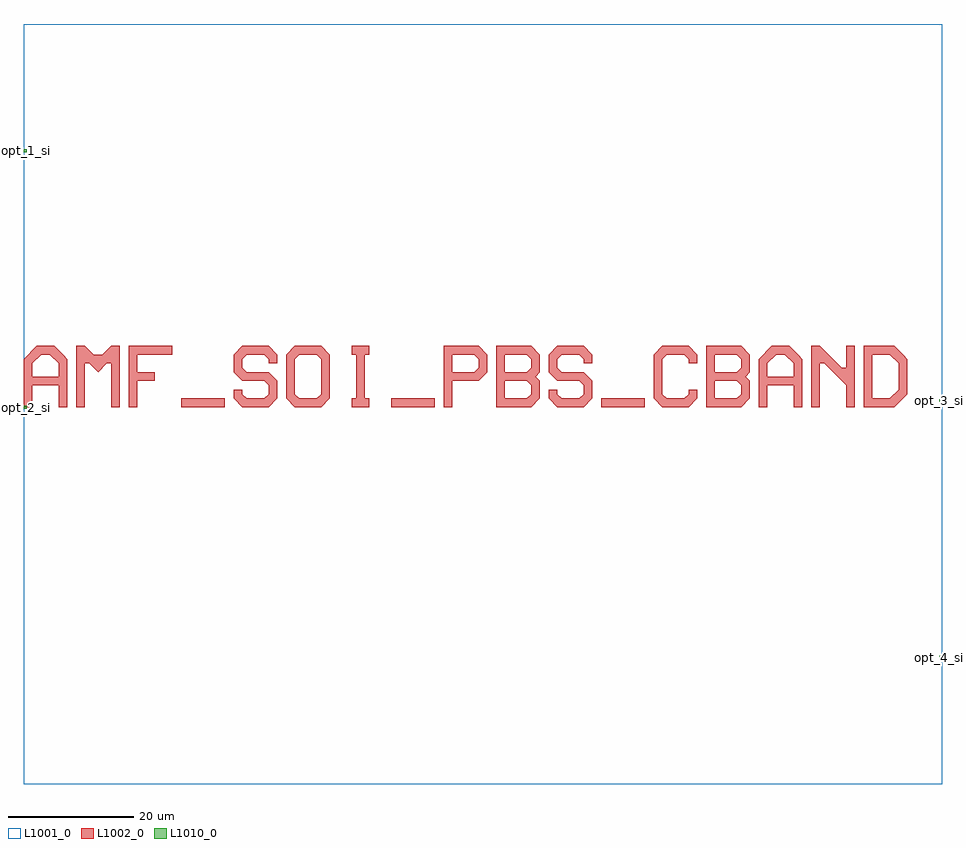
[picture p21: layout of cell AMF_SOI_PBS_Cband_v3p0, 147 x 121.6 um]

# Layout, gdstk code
import gdstk
lib = gdstk.Library(unit=1e-6, precision=1e-09)
def R(c, l, rs):  # rectangles x0, y0, x1, y1
    for r in rs: c.add(gdstk.rectangle(r[:2], r[2:], *l))
def A(c, l, x, y, w, h, nx, ny, dx, dy):  # array of equal rectangles
    R(c, l, [(x+i*dx, y+j*dy, x+i*dx+w, y+j*dy+h) for i in range(nx) for j in range(ny)])
def P(c, l, *ps):  # polygons
    for p in ps: c.add(gdstk.Polygon(p, *l))
L1001_0 = (1001, 0)
L1002_0 = (1002, 0)
L1010_0 = (1010, 0)

amf_soi_pbs_cband_v3p0 = lib.new_cell('AMF_SOI_PBS_Cband_v3p0')
R(amf_soi_pbs_cband_v3p0, L1001_0, [(0,-60.3,147,61.3)])
A(amf_soi_pbs_cband_v3p0, L1002_0, 25.202, -0.004, 7, 1.4, 3, 1, 33.6, 0)
P(amf_soi_pbs_cband_v3p0, L1002_0, [(0.002,-0.004),(0.002,7.696),(2.102,9.796),(4.902,9.796),(6.302,8.396),(2.802,8.396),(1.402,6.996),(1.402,4.896),(5.602,4.896),(5.602,6.996),(4.202,8.396),(6.302,8.396),(7.002,7.696),(7.002,-0.004),(5.602,-0.004),(5.602,3.496),(1.402,3.496),(1.402,-0.004)],
  [(8.402,-0.004),(8.402,9.796),(9.802,9.796),(11.202,8.396),(12.602,8.396),(14.002,9.796),(15.402,9.796),(15.402,-0.004),(14.002,-0.004),(14.002,6.996),(13.302,6.996),(11.902,5.596),(10.502,6.996),(9.802,6.996),(9.802,-0.004)],
  [(16.802,-0.004),(16.802,9.796),(23.802,9.796),(23.802,8.396),(18.202,8.396),(18.202,5.596),(21.002,5.596),(21.002,4.196),(18.202,4.196),(18.202,-0.004)],
  [(35.002,-0.004),(33.602,1.396),(33.602,2.796),(35.002,2.796),(35.002,2.096),(35.702,1.396),(38.502,1.396),(39.202,2.096),(39.202,3.496),(38.502,4.196),(35.002,4.196),(33.602,5.596),(33.602,8.396),(35.002,9.796),(39.202,9.796),(40.602,8.396),(40.602,6.996),(39.202,6.996),(39.202,7.696),(38.502,8.396),(35.702,8.396),(35.002,7.696),(35.002,6.296),(35.702,5.596),(39.202,5.596),(40.602,4.196),(40.602,1.396),(39.202,-0.004)],
  [(43.402,-0.004),(42.002,1.396),(42.002,8.396),(43.402,9.796),(47.602,9.796),(49.002,8.396),(49.002,4.896),(47.602,4.896),(47.602,7.696),(46.902,8.396),(44.102,8.396),(43.402,7.696),(43.402,2.096),(44.102,1.396),(46.902,1.396),(47.602,2.096),(47.602,4.896),(49.002,4.896),(49.002,1.396),(47.602,-0.004)],
  [(52.502,-0.004),(52.502,1.396),(53.202,1.396),(53.202,8.396),(52.502,8.396),(52.502,9.796),(55.302,9.796),(55.302,8.396),(54.602,8.396),(54.602,1.396),(55.302,1.396),(55.302,-0.004)],
  [(67.202,-0.004),(67.202,9.796),(72.802,9.796),(74.202,8.396),(74.202,5.596),(72.802,4.196),(68.602,4.196),(68.602,5.596),(72.102,5.596),(72.802,6.296),(72.802,7.696),(72.102,8.396),(68.602,8.396),(68.602,-0.004)],
  [(75.602,-0.004),(75.602,9.796),(81.202,9.796),(82.602,8.396),(77.002,8.396),(77.002,5.596),(80.502,5.596),(81.202,6.296),(81.202,7.696),(80.502,8.396),(82.602,8.396),(82.602,5.596),(81.902,4.896),(82.602,4.196),(77.002,4.196),(77.002,1.396),(80.502,1.396),(81.202,2.096),(81.202,3.496),(80.502,4.196),(82.602,4.196),(82.602,1.396),(81.202,-0.004)],
  [(85.402,-0.004),(84.002,1.396),(84.002,2.796),(85.402,2.796),(85.402,2.096),(86.102,1.396),(88.902,1.396),(89.602,2.096),(89.602,3.496),(88.902,4.196),(85.402,4.196),(84.002,5.596),(84.002,8.396),(85.402,9.796),(89.602,9.796),(91.002,8.396),(91.002,6.996),(89.602,6.996),(89.602,7.696),(88.902,8.396),(86.102,8.396),(85.402,7.696),(85.402,6.296),(86.102,5.596),(89.602,5.596),(91.002,4.196),(91.002,1.396),(89.602,-0.004)],
  [(102.202,-0.004),(100.802,1.396),(100.802,8.396),(102.202,9.796),(106.402,9.796),(107.802,8.396),(107.802,6.996),(106.402,6.996),(106.402,7.696),(105.702,8.396),(102.902,8.396),(102.202,7.696),(102.202,2.096),(102.902,1.396),(105.702,1.396),(106.402,2.096),(106.402,2.796),(107.802,2.796),(107.802,1.396),(106.402,-0.004)],
  [(109.202,-0.004),(109.202,9.796),(114.802,9.796),(116.202,8.396),(110.602,8.396),(110.602,5.596),(114.102,5.596),(114.802,6.296),(114.802,7.696),(114.102,8.396),(116.202,8.396),(116.202,5.596),(115.502,4.896),(116.202,4.196),(110.602,4.196),(110.602,1.396),(114.102,1.396),(114.802,2.096),(114.802,3.496),(114.102,4.196),(116.202,4.196),(116.202,1.396),(114.802,-0.004)],
  [(117.602,-0.004),(117.602,7.696),(119.702,9.796),(122.502,9.796),(123.902,8.396),(120.402,8.396),(119.002,6.996),(119.002,4.896),(123.202,4.896),(123.202,6.996),(121.802,8.396),(123.902,8.396),(124.602,7.696),(124.602,-0.004),(123.202,-0.004),(123.202,3.496),(119.002,3.496),(119.002,-0.004)],
  [(126.002,-0.004),(126.002,9.796),(127.402,9.796),(130.902,6.296),(131.602,6.296),(131.602,9.796),(133.002,9.796),(133.002,-0.004),(131.602,-0.004),(131.602,3.496),(128.102,6.996),(127.402,6.996),(127.402,-0.004)],
  [(134.402,-0.004),(134.402,9.796),(139.302,9.796),(140.702,8.396),(135.802,8.396),(135.802,1.396),(138.602,1.396),(140.002,2.796),(140.002,6.996),(138.602,8.396),(140.702,8.396),(141.402,7.696),(141.402,2.096),(139.302,-0.004)])
R(amf_soi_pbs_cband_v3p0, L1010_0, [(146.5,-40.25,147,-39.75), (0,-0.25,0.5,0.25), (146.5,0.75,147,1.25), (0,40.75,0.5,41.25)])
amf_soi_pbs_cband_v3p0.add(gdstk.Label('opt_1_si', (0,41), layer=1010, texttype=0))
amf_soi_pbs_cband_v3p0.add(gdstk.Label('opt_3_si', (147,1), layer=1010, texttype=0))
amf_soi_pbs_cband_v3p0.add(gdstk.Label('opt_4_si', (147,-40), layer=1010, texttype=0))
amf_soi_pbs_cband_v3p0.add(gdstk.Label('opt_2_si', (0,0), layer=1010, texttype=0))

lib.write_gds('AMF_SOI_PBS_Cband_v3p0.gds')
